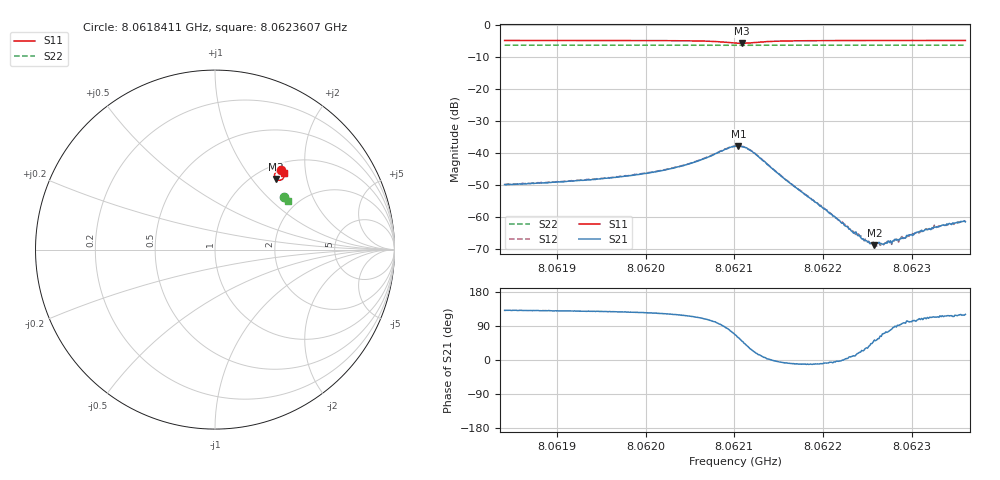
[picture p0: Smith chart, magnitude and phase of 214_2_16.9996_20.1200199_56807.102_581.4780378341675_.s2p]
#  HZ  S  RI  R  50.00
! Rohde & Schwarz Vector Network Analyzer
! Rohde-Schwarz,ZNB20-2Port,1311601062101988,3.16
! Created: UTC 3/20/2024, 11:01:41 PM
! freq[Hz]  re:S11  im:S11  re:S21  im:S21  re:S12  im:S12  re:S22  im:S22
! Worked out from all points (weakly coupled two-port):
!   401 points, 8.0618411 GHz to 8.0623607 GHz, reference 50 ohm
!   highest |S21| = -37.79 dB at 8.0621048 GHz (marker M1); lowest = -68.8 dB at 8.0622581 GHz (marker M2)
!   lowest |S11| = -5.7 dB at 8.0621087 GHz (marker M3), VSWR 3.16, Z = 61.9 + j66.6 ohm
!   |S11| at or under -10 dB: nowhere
!   |S22| runs from -6.3 to -6.3 dB; largest |S21 - S12| = 0.001
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8.06184108e9  0.3663 0.4445  -0.0021 0.00243  -0.002 0.00256  0.3869 0.2952
8.06192811e9  0.3729 0.4384  -0.00236 0.00291  -0.00221 0.00307  0.3899 0.2909
8.06198267e9  0.3775 0.4331  -0.00262 0.00358  -0.00244 0.00382  0.3917 0.2881
8.06201514e9  0.3809 0.4282  -0.00285 0.00437  -0.00263 0.00458  0.393 0.2862
8.06205152e9  0.3847 0.4181  -0.00293 0.00627  -0.00255 0.00649  0.394 0.2841
8.06208139e9  0.3811 0.3987  -0.0013 0.0101  -0.000592 0.0102  0.3947 0.2821
8.06210088e9  0.3555 0.3861  0.00503 0.0117  0.00576 0.0116  0.394 0.2809
8.06210477e9  0.3474 0.3882  0.00668 0.011  0.00749 0.0108  0.3937 0.281
8.06210867e9  0.3402 0.3929  0.0081 0.00968  0.00871 0.00914  0.3935 0.2811
8.06212166e9  0.3318 0.4169  0.00931 0.00397  0.00968 0.00357  0.3939 0.2817
8.06215543e9  0.3543 0.4392  0.00407 -0.000493  0.0041 -0.000737  0.3963 0.2809
8.06218791e9  0.3663 0.4386  0.00181 -0.000374  0.00181 -0.00048  0.3979 0.2792
8.06222428e9  0.3735 0.4358  0.000737 2.24e-05  0.000754 -3.06e-05  0.3993 0.2772
8.06223467e9  0.3749 0.4351  0.000548 0.000109  0.000579 5.69e-05  0.3997 0.2767
8.06224506e9  0.3762 0.4344  0.000415 0.000185  0.00043 0.000171  0.4 0.2762
8.06225286e9  0.377 0.4339  0.0003 0.000239  0.000331 0.000213  0.4004 0.2757
8.06225805e9  0.3776 0.4336  0.000221 0.000288  0.000267 0.000229  0.4003 0.2754
8.06226715e9  0.3785 0.4329  0.000135 0.000352  0.000188 0.000332  0.401 0.275
8.06227494e9  0.3795 0.4324  9.05e-05 0.000388  0.000138 0.000395  0.4012 0.2746
8.06230871e9  0.3825 0.4302  -0.000195 0.000563  -0.000153 0.000543  0.4023 0.2729
8.0623256e9  0.3838 0.4291  -0.000271 0.000637  -0.000267 0.000696  0.4027 0.272
8.06236067e9  0.3865 0.4272  -0.000427 0.000725  -0.000366 0.000792  0.4039 0.2703
